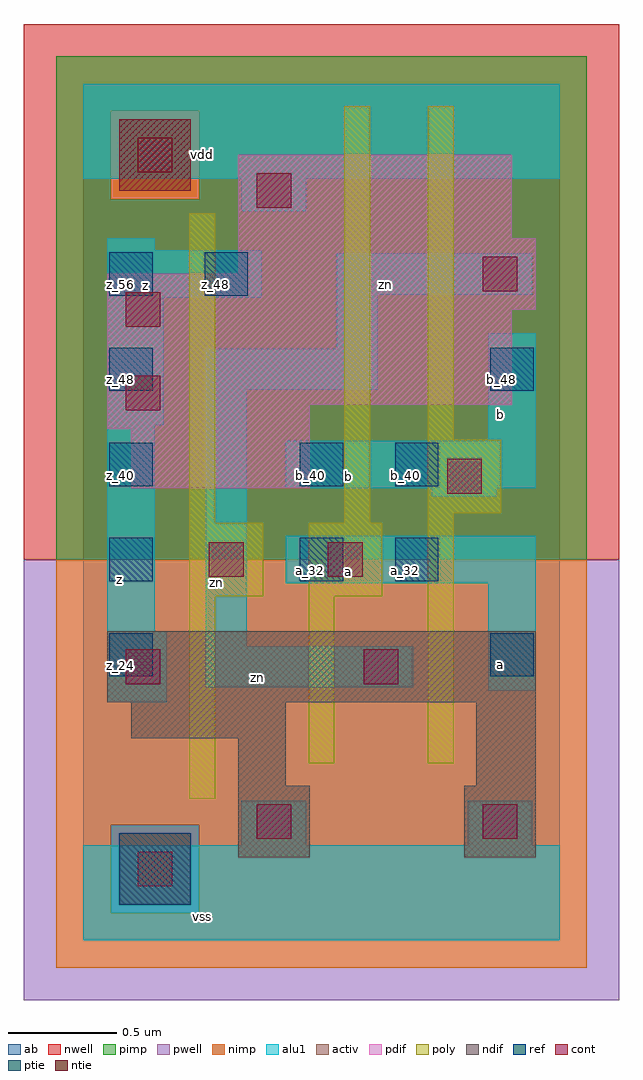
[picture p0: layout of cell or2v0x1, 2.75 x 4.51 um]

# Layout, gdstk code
import gdstk
lib = gdstk.Library(unit=1e-6, precision=2.5e-09)
def R(c, l, rs):  # rectangles x0, y0, x1, y1
    for r in rs: c.add(gdstk.rectangle(r[:2], r[2:], *l))
def A(c, l, x, y, w, h, nx, ny, dx, dy):  # array of equal rectangles
    R(c, l, [(x+i*dx, y+j*dy, x+i*dx+w, y+j*dy+h) for i in range(nx) for j in range(ny)])
ndif = (3, 0)
pdif = (4, 0)
ntie = (5, 0)
ptie = (6, 0)
ref = (24, 0)
cont = (25, 0)
pwell = (41, 0)
nwell = (42, 0)
activ = (43, 0)
pimp = (44, 0)
nimp = (45, 0)
poly = (46, 0)
alu1 = (49, 0)
ab = (63, 0)

or2v0x1 = lib.new_cell('or2v0x1')
R(or2v0x1, ndif, [(0.715,0.385,1.045,0.715), (1.76,0.385,2.09,0.715), (0.715,0.715,0.935,0.935), (1.815,0.715,2.09,1.1), (0.22,0.935,0.935,1.1), (0.11,1.1,2.09,1.43)])
R(or2v0x1, pdif, [(0.22,2.09,1.045,2.365), (0.11,2.365,1.045,2.475), (0.11,2.475,1.98,2.915), (0.11,2.915,2.09,3.08), (0.715,3.08,2.09,3.245), (0.715,3.245,1.98,3.63)])
R(or2v0x1, ntie, [(0.165,3.465,0.495,3.795)])
R(or2v0x1, ptie, [(0.165,0.165,0.495,0.495)])
A(or2v0x1, ref, 0.12, 1.22, 0.2, 0.2, 1, 5, 0, 0.44)
R(or2v0x1, ref, [(1.88,1.22,2.08,1.42), (1,1.66,1.2,1.86), (1.44,1.66,1.64,1.86), (1,2.1,1.2,2.3), (1.44,2.1,1.64,2.3), (1.88,2.54,2.08,2.74), (0.56,2.98,0.76,3.18)])
R(or2v0x1, cont, [(0.25,0.25,0.41,0.41), (0.8,0.47,0.96,0.63), (1.845,0.47,2.005,0.63), (0.195,1.185,0.355,1.345), (1.295,1.185,1.455,1.345), (0.58,1.68,0.74,1.84), (1.13,1.68,1.29,1.84), (1.68,2.065,1.84,2.225), (0.195,2.45,0.355,2.61), (0.195,2.835,0.355,2.995), (1.845,3,2.005,3.16), (0.8,3.385,0.96,3.545), (0.25,3.55,0.41,3.71)])
R(or2v0x1, pwell, [(-0.275,-0.275,2.475,1.76)])
R(or2v0x1, nwell, [(-0.275,1.76,2.475,4.235)])
R(or2v0x1, activ, [(0.165,0.165,0.495,0.495), (0.715,0.385,1.045,0.715), (1.76,0.385,2.09,0.715), (0.715,0.715,0.935,0.935), (1.815,0.715,2.09,1.1), (0.22,0.935,0.935,1.1), (0.11,1.1,2.09,1.43), (0.22,2.09,1.045,2.365), (0.11,2.365,1.045,2.475), (0.11,2.475,1.98,2.915), (0.11,2.915,2.09,3.08), (0.715,3.08,2.09,3.245), (0.715,3.245,1.98,3.63), (0.165,3.465,0.495,3.795)])
R(or2v0x1, pimp, [(0.125,0.125,0.535,0.535), (-0.125,1.76,2.325,3.425), (-0.125,3.425,0.125,3.835), (0.535,3.425,2.325,3.835), (-0.125,3.835,2.325,4.085)])
R(or2v0x1, nimp, [(-0.125,-0.125,2.325,0.125), (-0.125,0.125,0.125,0.535), (0.535,0.125,2.325,0.535), (-0.125,0.535,2.325,1.76), (0.125,3.425,0.535,3.835)])
R(or2v0x1, poly, [(0.49,0.655,0.61,1.59), (1.04,0.82,1.16,1.59), (1.59,0.82,1.71,1.975), (0.49,1.59,0.83,1.93), (1.04,1.59,1.38,1.93), (0.49,1.93,0.61,3.36), (1.205,1.93,1.325,3.855), (1.59,1.975,1.93,2.315), (1.59,2.315,1.71,3.855)])
R(or2v0x1, alu1, [(0,0,2.2,0.44), (0.73,0.44,1.03,0.645), (1.775,0.44,2.075,0.645), (0.11,1.1,0.385,1.43), (1.87,1.155,2.09,1.65), (0.565,1.17,1.525,1.36), (0.565,1.36,0.755,2.545), (0.11,1.43,0.33,2.38), (0.935,1.65,2.09,1.87), (1.61,2.05,1.91,2.09), (0.935,2.09,2.09,2.31), (1.87,2.31,2.09,2.805), (0.11,2.38,0.37,2.97), (0.565,2.545,1.36,2.735), (1.17,2.735,1.36,2.985), (0.11,2.97,0.825,3.19), (1.17,2.985,2.075,3.175), (0.11,3.19,0.33,3.245), (0.73,3.37,1.03,3.52), (0,3.52,2.2,3.96)])
R(or2v0x1, ab, [(0,0,2.2,3.96)])
or2v0x1.add(gdstk.Label('vss', (0.55,0.11), layer=49, texttype=0))
or2v0x1.add(gdstk.Label('a', (1.925,1.2775), layer=49, texttype=0))
or2v0x1.add(gdstk.Label('zn', (0.805,1.2175), layer=49, texttype=0))
or2v0x1.add(gdstk.Label('a', (1.2225,1.705), layer=49, texttype=0))
or2v0x1.add(gdstk.Label('b', (1.2225,2.145), layer=49, texttype=0))
or2v0x1.add(gdstk.Label('b', (1.925,2.4325), layer=49, texttype=0))
or2v0x1.add(gdstk.Label('zn', (0.6125,1.655), layer=49, texttype=0))
or2v0x1.add(gdstk.Label('z', (0.165,1.6675), layer=49, texttype=0))
or2v0x1.add(gdstk.Label('zn', (1.395,3.0325), layer=49, texttype=0))
or2v0x1.add(gdstk.Label('z', (0.2875,3.025), layer=49, texttype=0))
or2v0x1.add(gdstk.Label('vdd', (0.55,3.63), layer=49, texttype=0))
or2v0x1.add(gdstk.Label('z_48', (0.61,3.03), layer=24, texttype=0))
or2v0x1.add(gdstk.Label('a_32', (1.05,1.71), layer=24, texttype=0))
or2v0x1.add(gdstk.Label('b_40', (1.05,2.15), layer=24, texttype=0))
or2v0x1.add(gdstk.Label('a_32', (1.49,1.71), layer=24, texttype=0))
or2v0x1.add(gdstk.Label('b_40', (1.49,2.15), layer=24, texttype=0))
or2v0x1.add(gdstk.Label('a_24', (1.93,1.27), layer=24, texttype=0))
or2v0x1.add(gdstk.Label('b_48', (1.93,2.59), layer=24, texttype=0))
or2v0x1.add(gdstk.Label('z_24', (0.17,1.27), layer=24, texttype=0))
or2v0x1.add(gdstk.Label('z_32', (0.17,1.71), layer=24, texttype=0))
or2v0x1.add(gdstk.Label('z_40', (0.17,2.15), layer=24, texttype=0))
or2v0x1.add(gdstk.Label('z_48', (0.17,2.59), layer=24, texttype=0))
or2v0x1.add(gdstk.Label('z_56', (0.17,3.03), layer=24, texttype=0))

lib.write_gds('or2v0x1.gds')
